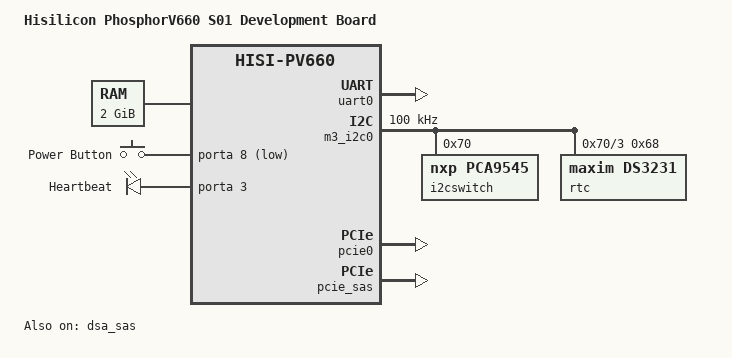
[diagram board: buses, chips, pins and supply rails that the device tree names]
/**
 * dts file for Hisilicon PhosphorV660 S01 Board
 *
 * Copyright (C) 2014,2015 Hisilicon Ltd.
 *
 * This program is free software; you can redistribute it and/or modify
 * it under the terms of the GNU General Public License version 2 as
 * publishhed by the Free Software Foundation.
 *
 */

/dts-v1/;

/include/ "hip05.dtsi"
/include/ "hip05-s01-pcie.dtsi"

/ {
	model = "Hisilicon PhosphorV660 S01 Development Board";
	compatible = "hisilicon,hip05-s01", "hisilicon,hisi-pv660";

	memory@00000000 {
		device_type = "memory";
		reg = <0x0 0x00000000 0x0 0x80000000>;
	};

	/include/ "hisi_p660_xge_1p.dtsi"

	chosen {
		bootargs = "earlycon=uart8250,mmio32,0x80300000 console=ttyS0,115200 initrd=0x7000000,350M";
	};

	gpio_keys {
		compatible = "gpio-keys";
		#address-cells = <1>;
		#size-cells = <0>;

		pwrbutton {
			label = "Power Button";
			gpios = <&porta 8 1>;
			linux,input-type = <0x16>;
			linux,code = <116>;
			debounce-interval = <0>;
		};
	};

	gpio_leds {
		compatible = "gpio-leds";
		led@1 {
			label = "Heartbeat";
			gpios = <&porta 3 0>;
			linux,default-trigger = "heartbeat";
			default-state = "on";
		};
	};
};

&uart0 {
	status = "okay";
};

&m3_i2c0 {
	clock-frequency = <100000>;
	status = "okay";

	i2cswitch@70 {
		compatible = "nxp,pca9545";
		#address-cells = <1>;
		#size-cells = <0>;
		reg = <0x70>;

		i2c@3 {
			#address-cells = <1>;
			#size-cells = <0>;
			reg = <3>;

			rtc: ds3231@68 {
				compatible = "maxim,ds3231";
				reg = <0x68>;
			};
		};
	};
};

&pcie0 {
	status = "okay";
};

&dsa_sas {
	status = "okay";
};

&pcie_sas {
	status = "okay";
};
